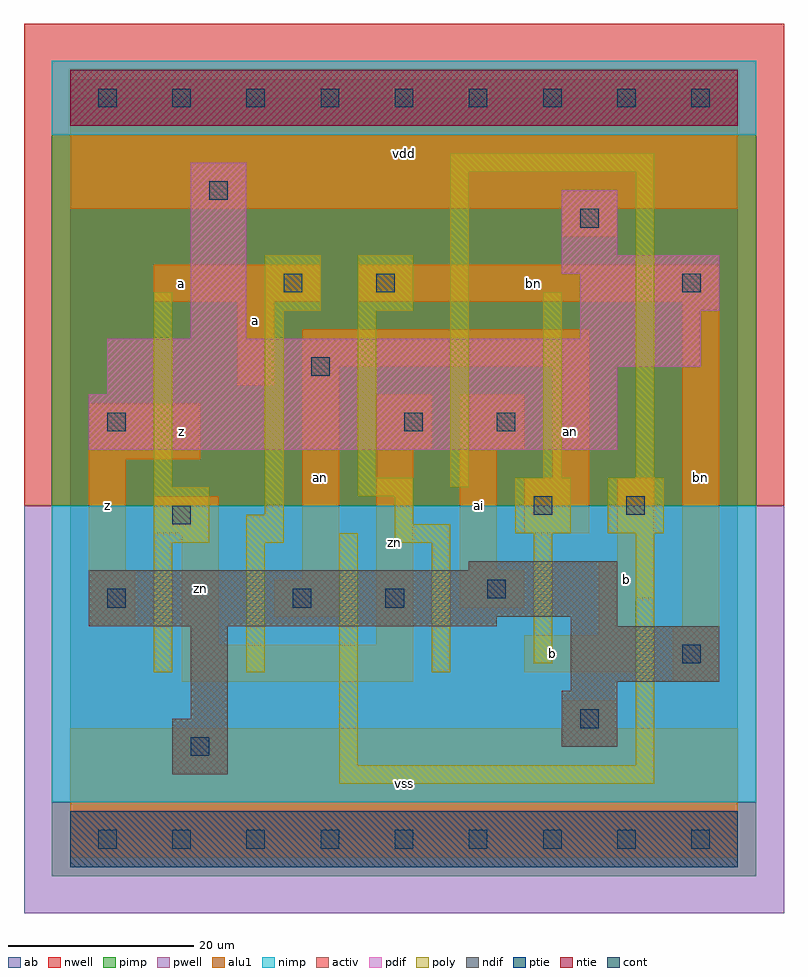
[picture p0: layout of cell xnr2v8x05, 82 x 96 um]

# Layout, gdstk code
import gdstk
lib = gdstk.Library(unit=1e-6, precision=1e-09)
def R(c, l, rs):  # rectangles x0, y0, x1, y1
    for r in rs: c.add(gdstk.rectangle(r[:2], r[2:], *l))
def A(c, l, x, y, w, h, nx, ny, dx, dy):  # array of equal rectangles
    R(c, l, [(x+i*dx, y+j*dy, x+i*dx+w, y+j*dy+h) for i in range(nx) for j in range(ny)])
ndif = (3, 0)
pdif = (4, 0)
ntie = (5, 0)
ptie = (6, 0)
cont = (25, 0)
pwell = (41, 0)
nwell = (42, 0)
activ = (43, 0)
pimp = (44, 0)
nimp = (45, 0)
poly = (46, 0)
alu1 = (49, 0)
ab = (63, 0)

xnr2v8x05 = lib.new_cell('xnr2v8x05')
R(xnr2v8x05, ndif, [(11,7,17,13), (53,10,59,16), (13,13,17,23), (54,16,59,17), (54,17,70,23), (2,23,46,24), (54,23,59,24), (2,24,59,29), (43,29,59,30)])
R(xnr2v8x05, pdif, [(2,42,59,48), (4,48,59,51), (4,51,68,54), (13,54,19,73), (55,54,68,57), (55,57,70,61), (53,61,70,63), (53,63,59,70)])
R(xnr2v8x05, ntie, [(0,77,72,83)])
R(xnr2v8x05, ptie, [(0,-3,72,3)])
A(xnr2v8x05, cont, 3, -1, 2, 2, 9, 2, 8, 80)
R(xnr2v8x05, cont, [(13,9,15,11), (55,12,57,14), (66,19,68,21), (4,25,6,27), (24,25,26,27), (34,25,36,27), (45,26,47,28), (11,34,13,36), (50,35,52,37), (60,35,62,37), (4,44,6,46), (36,44,38,46), (46,44,48,46), (26,50,28,52), (23,59,25,61), (33,59,35,61), (66,59,68,61), (55,66,57,68), (15,69,17,71)])
R(xnr2v8x05, pwell, [(-5,-8,77,36)])
R(xnr2v8x05, nwell, [(-5,36,77,88)])
R(xnr2v8x05, activ, [(0,-3,72,3), (11,7,17,13), (53,10,59,16), (13,13,17,23), (54,16,59,17), (54,17,70,23), (2,23,46,24), (54,23,59,24), (2,24,59,29), (43,29,59,30), (2,42,59,48), (4,48,59,51), (4,51,68,54), (13,54,19,73), (55,54,68,57), (55,57,70,61), (53,61,70,63), (53,63,59,70), (0,77,72,83)])
R(xnr2v8x05, pimp, [(-2,-4,74,4), (-2,36,74,76)])
R(xnr2v8x05, nimp, [(-2,4,74,36), (-2,76,74,84)])
R(xnr2v8x05, poly, [(29,6,63,8), (29,8,31,33), (61,8,63,33), (9,18,11,32), (19,18,21,32), (39,18,41,32), (50,19,52,33), (9,32,15,38), (19,32,23,35), (35,32,41,34), (48,33,54,39), (58,33,64,39), (35,34,37,37), (21,35,23,57), (31,37,37,39), (9,38,11,59), (41,38,43,72), (31,39,33,57), (51,39,53,59), (61,39,63,72), (21,57,27,63), (31,57,37,63), (41,72,63,74)])
R(xnr2v8x05, alu1, [(0,-2,72,12), (53,12,59,15), (12,17,37,21), (65,17,70,23), (49,18,61,22), (12,21,16,33), (33,21,37,42), (57,22,61,26), (2,23,7,29), (66,23,70,58), (22,24,29,28), (42,25,49,29), (57,26,63,30), (25,28,29,51), (2,29,6,41), (42,29,46,42), (59,30,63,39), (9,33,16,37), (49,33,56,39), (52,39,56,51), (2,41,14,47), (33,42,39,48), (42,42,49,48), (18,49,22,58), (25,51,56,55), (9,58,27,62), (31,58,70,62), (53,65,59,68), (0,68,72,82)])
R(xnr2v8x05, ab, [(0,0,72,80)])
xnr2v8x05.add(gdstk.Label('zn', (14,27), layer=49, texttype=0))
xnr2v8x05.add(gdstk.Label('an', (27,39), layer=49, texttype=0))
xnr2v8x05.add(gdstk.Label('ai', (44,36), layer=49, texttype=0))
xnr2v8x05.add(gdstk.Label('zn', (35,32), layer=49, texttype=0))
xnr2v8x05.add(gdstk.Label('an', (54,44), layer=49, texttype=0))
xnr2v8x05.add(gdstk.Label('bn', (50,60), layer=49, texttype=0))
xnr2v8x05.add(gdstk.Label('bn', (68,39), layer=49, texttype=0))
xnr2v8x05.add(gdstk.Label('z', (4,36), layer=49, texttype=0))
xnr2v8x05.add(gdstk.Label('z', (12,44), layer=49, texttype=0))
xnr2v8x05.add(gdstk.Label('a', (12,60), layer=49, texttype=0))
xnr2v8x05.add(gdstk.Label('a', (20,56), layer=49, texttype=0))
xnr2v8x05.add(gdstk.Label('vss', (36,6), layer=49, texttype=0))
xnr2v8x05.add(gdstk.Label('b', (52,20), layer=49, texttype=0))
xnr2v8x05.add(gdstk.Label('vdd', (36,74), layer=49, texttype=0))
xnr2v8x05.add(gdstk.Label('b', (60,28), layer=49, texttype=0))

lib.write_gds('xnr2v8x05.gds')
